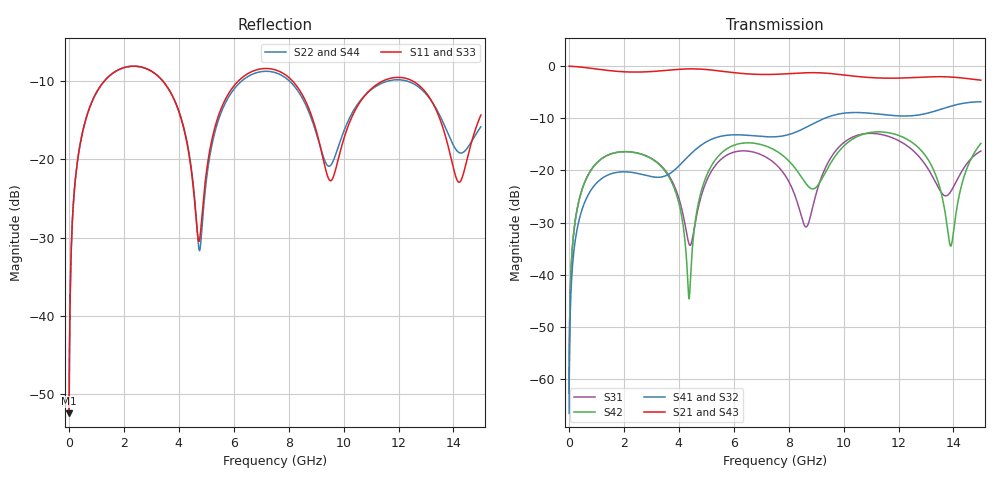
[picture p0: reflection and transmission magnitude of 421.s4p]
! Created with skrf 1.8.0 (http://scikit-rf.org).
# GHz S RI R 50.0
!freq ReS11 ImS11 ReS12 ImS12 ReS13 ImS13
! ReS14 ImS14
! ReS21 ImS21 ReS22 ImS22 ReS23 ImS23
! ReS24 ImS24
! ReS31 ImS31 ReS32 ImS32 ReS33 ImS33
! ReS34 ImS34
! ReS41 ImS41 ReS42 ImS42 ReS43 ImS43
! ReS44 ImS44
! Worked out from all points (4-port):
!   2499 points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, 5 MHz to 15 GHz, reference 50 ohm
!   strongest paths, dB at 5 MHz, 3.476 GHz, 7.19 GHz, 11.1 GHz, 15 GHz:
!     S21: 0.0, -0.9, -1.6, -2.2, -2.7
!     S43: 0.0, -0.9, -1.6, -2.2, -2.7
!     S41: -66.6, -21.1, -13.6, -9.1, -6.8
!     S32: -66.6, -21.1, -13.6, -9.1, -6.8
!     S42: -62.7, -20.0, -15.4, -12.7, -14.8
!     S31: -62.7, -19.8, -17.5, -12.9, -16.3
!   lowest |S11| = -52.5 dB at 5 MHz (marker M1), VSWR 1.00, Z = 50.2 + j0.145 ohm
!   |S11| at or under -10 dB: 3.422 GHz to 6.157 GHz (2.734 GHz wide, 57.1 % of centre); 8.149 GHz to 11.41 GHz (3.26 GHz wide, 33.3 % of centre); 12.53 GHz to end of sweep (the widest 3 of 4)
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0.005  0.00189 0.00144  0.9981 -0.00368  9.5e-05 0.000727  -9.24e-05 -0.00046
       0.9981 -0.00368  0.00189 0.00144  -9.24e-05 -0.00046  9.5e-05 0.000727
       9.5e-05 0.000727  -9.24e-05 -0.00046  0.00189 0.00144  0.9981 -0.00368
       -9.24e-05 -0.00046  9.5e-05 0.000727  0.9981 -0.00368  0.00189 0.00144
0.3126303  0.0306 0.0934  0.9581 -0.2276  0.0139 0.0424  -0.0116 -0.0263
           0.9581 -0.2276  0.0306 0.0934  -0.0116 -0.0263  0.0139 0.0424
           0.0139 0.0424  -0.0116 -0.0263  0.0306 0.0934  0.9581 -0.2276
           -0.0116 -0.0263  0.0139 0.0424  0.9581 -0.2276  0.0306 0.0934
1.369321  0.2775 0.1769  0.5359 -0.737  0.1259 0.0571  -0.089 -0.00424
          0.5359 -0.737  0.2774 0.1771  -0.089 -0.00429  0.1258 0.0573
          0.1259 0.0571  -0.089 -0.00429  0.2775 0.1769  0.5359 -0.737
          -0.089 -0.00424  0.1258 0.0573  0.5359 -0.737  0.2774 0.1771
4.370571  0.052 -0.094  -0.8902 -0.302  -0.0182 -0.00768  -0.0397 0.1327
          -0.8902 -0.302  0.0503 -0.0983  -0.0405 0.1324  0.00588 -0.000153
          -0.0182 -0.00768  -0.0405 0.1324  0.051 -0.0931  -0.8904 -0.3019
          -0.0397 0.1327  0.00588 -0.000153  -0.8904 -0.3019  0.0506 -0.0971
5.583576  0.1514 0.1601  -0.7769 0.4367  0.0908 0.0942  0.1338 0.1668
          -0.7769 0.4367  0.1382 0.1558  0.1328 0.1675  0.1306 0.0724
          0.0908 0.0942  0.1328 0.1675  0.1513 0.1618  -0.7767 0.4365
          0.1338 0.1668  0.1306 0.0724  -0.7767 0.4365  0.1394 0.1563
9.553981  0.0734 -0.00258  0.8421 0.0908  0.0102 0.1343  0.0256 -0.332
          0.8421 0.0908  0.0924 0.0094  0.0287 -0.3317  -0.0105 0.1198
          0.0102 0.1343  0.0287 -0.3317  0.0734 -0.0033  0.8419 0.0931
          0.0256 -0.332  -0.0105 0.1198  0.8419 0.0931  0.0927 0.00781
15  0.1483 0.1223  -0.7114 0.1752  0.0713 0.1358  0.1526 0.4285
    -0.7114 0.1752  0.1526 0.0541  0.1455 0.432  0.1674 0.0697
    0.0713 0.1358  0.1455 0.432  0.1396 0.1282  -0.7127 0.1692
    0.1526 0.4285  0.1674 0.0697  -0.7127 0.1692  0.1594 0.0534
